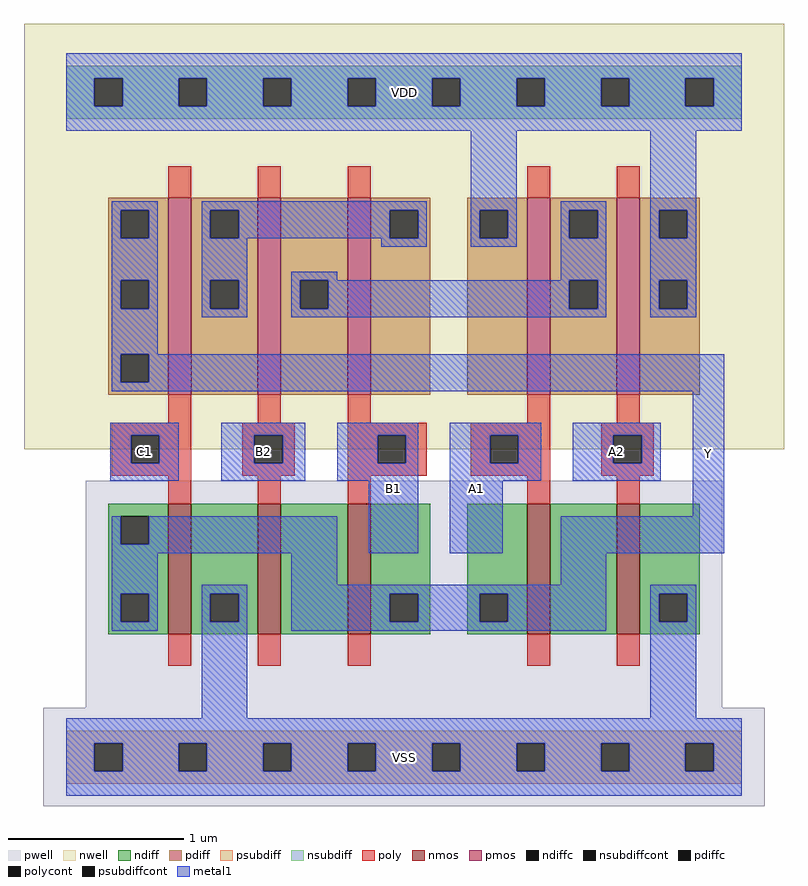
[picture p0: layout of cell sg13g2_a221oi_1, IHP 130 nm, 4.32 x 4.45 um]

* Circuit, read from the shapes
.subckt sg13g2_a221oi_1 VSS VDD C1 Y B2 B1 A2 A1
XM1 VSS C1 Y VSS sg13_lv_nmos w=0.74u l=0.13u
XM2 n1 B2 VSS VSS sg13_lv_nmos w=0.74u l=0.13u
XM3 Y B1 n1 VSS sg13_lv_nmos w=0.74u l=0.13u
XM4 n2 A1 Y VSS sg13_lv_nmos w=0.74u l=0.13u
XM5 VSS A2 n2 VSS sg13_lv_nmos w=0.74u l=0.13u
XM6 n3 C1 Y VDD sg13_lv_pmos w=1.12u l=0.13u
XM7 n4 B2 n3 VDD sg13_lv_pmos w=1.12u l=0.13u
XM8 n3 B1 n4 VDD sg13_lv_pmos w=1.12u l=0.13u
XM9 n4 A1 VDD VDD sg13_lv_pmos w=1.12u l=0.13u
XM10 VDD A2 n4 VDD sg13_lv_pmos w=1.12u l=0.13u
.ends

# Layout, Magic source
magic
tech ihp-sg13g2
<< nwell >>
rect -24 175 408 417
<< pwell >>
rect 11 28 373 157
rect -13 -28 397 28
<< nmos >>
rect 58 70 71 144
rect 109 70 122 144
rect 160 70 173 144
rect 262 70 275 144
rect 313 70 326 144
<< pmos >>
rect 58 206 71 318
rect 109 206 122 318
rect 160 206 173 318
rect 262 206 275 318
rect 313 206 326 318
<< ndiff >>
rect 24 137 58 144
rect 24 121 31 137
rect 47 121 58 137
rect 24 93 58 121
rect 24 77 31 93
rect 47 77 58 93
rect 24 70 58 77
rect 71 93 109 144
rect 71 77 82 93
rect 98 77 109 93
rect 71 70 109 77
rect 122 70 160 144
rect 173 93 207 144
rect 173 77 184 93
rect 200 77 207 93
rect 173 70 207 77
rect 228 93 262 144
rect 228 77 235 93
rect 251 77 262 93
rect 228 70 262 77
rect 275 70 313 144
rect 326 93 360 144
rect 326 77 337 93
rect 353 77 360 93
rect 326 70 360 77
<< pdiff >>
rect 24 311 58 318
rect 24 295 31 311
rect 47 295 58 311
rect 24 271 58 295
rect 24 255 31 271
rect 47 255 58 271
rect 24 229 58 255
rect 24 213 31 229
rect 47 213 58 229
rect 24 206 58 213
rect 71 311 109 318
rect 71 295 82 311
rect 98 295 109 311
rect 71 271 109 295
rect 71 255 82 271
rect 98 255 109 271
rect 71 206 109 255
rect 122 271 160 318
rect 122 255 133 271
rect 149 255 160 271
rect 122 206 160 255
rect 173 311 207 318
rect 173 295 184 311
rect 200 295 207 311
rect 173 206 207 295
rect 228 311 262 318
rect 228 295 235 311
rect 251 295 262 311
rect 228 206 262 295
rect 275 311 313 318
rect 275 295 286 311
rect 302 295 313 311
rect 275 271 313 295
rect 275 255 286 271
rect 302 255 313 271
rect 275 206 313 255
rect 326 311 360 318
rect 326 295 337 311
rect 353 295 360 311
rect 326 271 360 295
rect 326 255 337 271
rect 353 255 360 271
rect 326 206 360 255
<< ndiffc >>
rect 31 121 47 137
rect 31 77 47 93
rect 82 77 98 93
rect 184 77 200 93
rect 235 77 251 93
rect 337 77 353 93
<< pdiffc >>
rect 31 295 47 311
rect 31 255 47 271
rect 31 213 47 229
rect 82 295 98 311
rect 82 255 98 271
rect 133 255 149 271
rect 184 295 200 311
rect 235 295 251 311
rect 286 295 302 311
rect 286 255 302 271
rect 337 295 353 311
rect 337 255 353 271
<< psubdiff >>
rect 0 8 384 15
rect 0 -8 16 8
rect 32 -8 64 8
rect 80 -8 112 8
rect 128 -8 160 8
rect 176 -8 208 8
rect 224 -8 256 8
rect 272 -8 304 8
rect 320 -8 352 8
rect 368 -8 384 8
rect 0 -15 384 -8
<< nsubdiff >>
rect 0 386 384 393
rect 0 370 16 386
rect 32 370 64 386
rect 80 370 112 386
rect 128 370 160 386
rect 176 370 208 386
rect 224 370 256 386
rect 272 370 304 386
rect 320 370 352 386
rect 368 370 384 386
rect 0 363 384 370
<< psubdiffcont >>
rect 16 -8 32 8
rect 64 -8 80 8
rect 112 -8 128 8
rect 160 -8 176 8
rect 208 -8 224 8
rect 256 -8 272 8
rect 304 -8 320 8
rect 352 -8 368 8
<< nsubdiffcont >>
rect 16 370 32 386
rect 64 370 80 386
rect 112 370 128 386
rect 160 370 176 386
rect 208 370 224 386
rect 256 370 272 386
rect 304 370 320 386
rect 352 370 368 386
<< poly >>
rect 58 318 71 336
rect 109 318 122 336
rect 160 318 173 336
rect 262 318 275 336
rect 313 318 326 336
rect 58 190 71 206
rect 109 190 122 206
rect 160 190 173 206
rect 262 190 275 206
rect 313 190 326 206
rect 26 183 71 190
rect 26 167 37 183
rect 53 167 71 183
rect 26 160 71 167
rect 100 183 130 190
rect 100 167 107 183
rect 123 167 130 183
rect 100 160 130 167
rect 160 183 205 190
rect 160 167 177 183
rect 193 167 205 183
rect 160 160 205 167
rect 230 183 275 190
rect 230 167 241 183
rect 257 167 275 183
rect 230 160 275 167
rect 304 183 334 190
rect 304 167 311 183
rect 327 167 334 183
rect 304 160 334 167
rect 58 144 71 160
rect 109 144 122 160
rect 160 144 173 160
rect 262 144 275 160
rect 313 144 326 160
rect 58 52 71 70
rect 109 52 122 70
rect 160 52 173 70
rect 262 52 275 70
rect 313 52 326 70
<< polycont >>
rect 37 167 53 183
rect 107 167 123 183
rect 177 167 193 183
rect 241 167 257 183
rect 311 167 327 183
<< metal1 >>
rect 0 386 384 400
rect 0 370 16 386
rect 32 370 64 386
rect 80 370 112 386
rect 128 370 160 386
rect 176 370 208 386
rect 224 370 256 386
rect 272 370 304 386
rect 320 370 352 386
rect 368 370 384 386
rect 0 356 384 370
rect 26 311 52 316
rect 26 295 31 311
rect 47 295 52 311
rect 26 271 52 295
rect 26 255 31 271
rect 47 255 52 271
rect 26 229 52 255
rect 77 311 205 316
rect 77 295 82 311
rect 98 295 184 311
rect 200 295 205 311
rect 77 271 103 295
rect 179 290 205 295
rect 230 311 256 356
rect 230 295 235 311
rect 251 295 256 311
rect 230 290 256 295
rect 281 311 307 316
rect 281 295 286 311
rect 302 295 307 311
rect 77 255 82 271
rect 98 255 103 271
rect 77 250 103 255
rect 128 271 154 276
rect 281 271 307 295
rect 128 255 133 271
rect 149 255 286 271
rect 302 255 307 271
rect 128 250 307 255
rect 332 311 358 356
rect 332 295 337 311
rect 353 295 358 311
rect 332 271 358 295
rect 332 255 337 271
rect 353 255 358 271
rect 332 250 358 255
rect 26 213 31 229
rect 47 213 374 229
rect 26 208 374 213
rect 25 183 64 190
rect 25 167 37 183
rect 53 167 64 183
rect 25 157 64 167
rect 88 183 136 190
rect 88 167 107 183
rect 123 167 136 183
rect 88 157 136 167
rect 154 183 200 190
rect 154 167 177 183
rect 193 167 200 183
rect 154 157 200 167
rect 26 121 31 137
rect 47 121 154 137
rect 26 116 154 121
rect 172 116 200 157
rect 218 183 270 190
rect 218 167 241 183
rect 257 167 270 183
rect 218 157 270 167
rect 288 183 338 190
rect 288 167 311 183
rect 327 167 338 183
rect 288 157 338 167
rect 218 116 248 157
rect 356 137 374 208
rect 281 116 374 137
rect 26 93 52 116
rect 128 98 154 116
rect 281 98 307 116
rect 26 77 31 93
rect 47 77 52 93
rect 26 72 52 77
rect 77 93 103 98
rect 77 77 82 93
rect 98 77 103 93
rect 77 22 103 77
rect 128 93 307 98
rect 128 77 184 93
rect 200 77 235 93
rect 251 77 307 93
rect 128 72 307 77
rect 332 93 358 98
rect 332 77 337 93
rect 353 77 358 93
rect 332 22 358 77
rect 0 8 384 22
rect 0 -8 16 8
rect 32 -8 64 8
rect 80 -8 112 8
rect 128 -8 160 8
rect 176 -8 208 8
rect 224 -8 256 8
rect 272 -8 304 8
rect 320 -8 352 8
rect 368 -8 384 8
rect 0 -22 384 -8
<< labels >>
flabel metal1 s 0 -22 384 22 0 FreeSans 200 0 0 0 VSS
port 3 nsew
flabel metal1 s 0 356 384 400 0 FreeSans 200 0 0 0 VDD
port 5 nsew
flabel metal1 s 25 157 64 190 0 FreeSans 200 0 0 0 C1
port 6 nsew
flabel metal1 s 356 116 374 229 0 FreeSans 200 0 0 0 Y
port 7 nsew
flabel metal1 s 88 157 136 190 0 FreeSans 200 0 0 0 B2
port 8 nsew
flabel metal1 s 172 116 200 190 0 FreeSans 200 0 0 0 B1
port 9 nsew
flabel metal1 s 288 157 338 190 0 FreeSans 200 0 0 0 A2
port 10 nsew
flabel metal1 s 218 116 248 190 0 FreeSans 200 0 0 0 A1
port 11 nsew
<< properties >>
string FIXED_BBOX 0 0 384 378
string GDS_END 144844
string GDS_FILE ../gds/controller.gds
string GDS_START 139132
<< end >>
